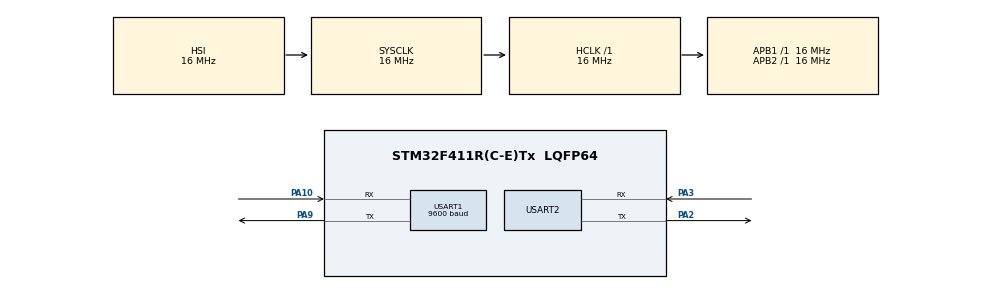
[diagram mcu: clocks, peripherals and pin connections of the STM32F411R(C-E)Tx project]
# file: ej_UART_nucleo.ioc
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Mcu.Family=STM32F4
Mcu.Name=STM32F411R(C-E)Tx
Mcu.Package=LQFP64
NVIC.PriorityGroup=NVIC_PRIORITYGROUP_4
NVIC.USART2_IRQn=true\:0\:0\:false\:false\:true\:true\:true
PA10.Mode=Asynchronous
PA10.Signal=USART1_RX
PA2.GPIO_PuPd=GPIO_PULLUP
PA2.GPIO_Speed=GPIO_SPEED_FREQ_MEDIUM
PA2.Mode=Asynchronous
PA2.Signal=USART2_TX
PA3.Mode=Asynchronous
PA3.Signal=USART2_RX
PA9.Mode=Asynchronous
PA9.Signal=USART1_TX
PH0\ -\ OSC_IN.Mode=HSE-External-Oscillator
PH0\ -\ OSC_IN.Signal=RCC_OSC_IN
PH1\ -\ OSC_OUT.Mode=HSE-External-Oscillator
PH1\ -\ OSC_OUT.Signal=RCC_OSC_OUT
ProjectManager.HeapSize=0x200
ProjectManager.StackSize=0x400
ProjectManager.TargetToolchain=SW4STM32
RCC.48MHZClocksFreq_Value=48000000
RCC.AHBFreq_Value=16000000
RCC.APB1Freq_Value=16000000
RCC.APB1TimFreq_Value=16000000
RCC.APB2Freq_Value=16000000
RCC.APB2TimFreq_Value=16000000
RCC.CortexFreq_Value=16000000
RCC.HCLKFreq_Value=16000000
RCC.HSE_VALUE=25000000
RCC.HSI_VALUE=16000000
RCC.LSE_VALUE=32768
RCC.SYSCLKFreq_VALUE=16000000
RCC.VCOOutputFreq_Value=192000000
RTC.Date=10
RTC.Hours=0
RTC.Minutes=0
RTC.Month=RTC_MONTH_AUGUST
RTC.WeekDay=RTC_WEEKDAY_WEDNESDAY
RTC.Year=22
USART1.BaudRate=9600
USART1.VirtualMode=VM_ASYNC
USART2.VirtualMode=VM_ASYNC
VP_RTC_VS_RTC_Activate.Mode=RTC_Enabled
VP_RTC_VS_RTC_Calendar.Mode=RTC_Calendar
board=custom

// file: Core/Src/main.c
/* USER CODE BEGIN Header */
/**
  ******************************************************************************
  * @file           : main.c
  * @brief          : Main program body
  ******************************************************************************
  * @attention
  *
  * <h2><center>&copy; Copyright (c) 2022 STMicroelectronics.
  * All rights reserved.</center></h2>
  *
  * This software component is licensed by ST under BSD 3-Clause license,
  * the "License"; You may not use this file except in compliance with the
  * License. You may obtain a copy of the License at:
  *                        opensource.org/licenses/BSD-3-Clause
  *
  ******************************************************************************
  */
/* USER CODE END Header */
#include "main.h"
#include "frame_decoder.h"
#include "frame_parser.h"
#include "engine.h"
#define frame_bufer 14

UART_HandleTypeDef huart1;
UART_HandleTypeDef huart2;
//uint8_t c;
/* USER CODE BEGIN PV */
uint8_t buffer_uart[14];  //  creating a buffer of 10 bytes
uint8_t frame_rx_completed_flag=0;
/*
typedef struct temporizacion{
	uint8_t hora;
	uint8_t minuto;
	uint8_t segundo;
	uint8_t pista;
}temporizacion;
*/
/* USER CODE END PV */

void SystemClock_Config(void);
static void MX_GPIO_Init(void);
static void MX_USART2_UART_Init(void);
static void MX_USART1_UART_Init(void);
static void MX_RTC_Init(void);
void HAL_UART_RxCpltCallback(UART_HandleTypeDef *huart);
void USART2_IRQHandler(void);
void SysTick_Handler(void);

temporizacion time_prog[5];
int main(void)
{

  /* MCU Configuration--------------------------------------------------------*/

  /* Reset of all peripherals, Initializes the Flash interface and the Systick. */
  HAL_Init();

  /* Configure the system clock */
  SystemClock_Config();

  /* Initialize all configured peripherals */
  MX_GPIO_Init();
  MX_USART2_UART_Init();
  MX_USART1_UART_Init();
  MX_RTC_Init();
  /* USER CODE BEGIN 2 */
  uint8_t hora;
	uint8_t minuto;
	uint8_t segundo;
	uint8_t track;
  //temporizacion time_prog[5]={{23,50,00,1},{23,52,00,1},{23,53,00,1},{23,54,00,1},{23,55,00,1}};
  /* USER CODE END 2 */
 // HAL_UART_Receive_IT(&huart2, &c, 1);
  /* Infinite loop */
  /* USER CODE BEGIN WHILE */
  uint8_t buffer[30];
 uint8_t buf;

 // HAL_UART_Transmit(&huart2, (uint8_t*)buffer, sizeof(buffer), HAL_MAX_DELAY);
// initialization(huart1);
  RTC_DateTypeDef GetData;  //Get date structure

     //Get time structure
  GetTime.Hours=21;
  GetTime.Minutes=50;
 //mp3_play_num(4);
 // mp3_play_physical_num(1);
  HAL_RTC_SetTime(&hrtc, &GetTime, RTC_FORMAT_BIN);
  HAL_UART_Receive_IT(&huart2, buffer_uart, frame_bufer);
 // init(huart2);
  while (1)
  {
	  HAL_RTC_GetTime(&hrtc, &GetTime, RTC_FORMAT_BIN);//Get time
	      /* Get the RTC current Date */
	      HAL_RTC_GetDate(&hrtc, &GetData, RTC_FORMAT_BIN);//get date
         /* for (int i=0;i<5;i++){
        	  if((time_prog[i].hora==GetTime.Hours) && (time_prog[i].minuto==GetTime.Minutes)&&(GetTime.Seconds==0)){
        		  mp3_play_physical_num(time_prog[i].pista);
        	  }
          }*/

          //send_frame_complete();
          if(frame_rx_completed_flag){
        	  uint8_t hora=horas();
        	           uint8_t minuto=minutos();
        	           uint8_t segundo=segundos();
        	           uint8_t track=tracks();
        	           uint8_t cmd=cmd_get();
        	 command(huart2, cmd, time_prog, hora, minuto, segundo, track);
        	 frame_rx_completed_flag=0;
          }
          /* Display date Format : yy/mm/dd */
	     //sprintf(buffer,"%02d/%02d/%02d\r\n",2000 + GetData.Year, GetData.Month, GetData.Date);
	      /* Display time Format : hh:mm:ss */
	     // HAL_UART_Transmit(&huart2, (uint8_t*)buffer, sizeof(buffer), HAL_MAX_DELAY);
	    //  sprintf(buffer,"%02d:%02d:%02d\r\n",GetTime.Hours, GetTime.Minutes, GetTime.Seconds);
	     // HAL_UART_Transmit(&huart2, (uint8_t*)buffer, sizeof(buffer), HAL_MAX_DELAY);
	      //printf("\r\n");

	     // HAL_Delay(1000);
    /* USER CODE END WHILE */

  }
}

void SysTick_Handler(void)
{
  /* USER CODE BEGIN SysTick_IRQn 0 */
   char buffer[20];
   static int ticks=0;
  RTC_TimeTypeDef GetTime;
  /* USER CODE END SysTick_IRQn 0 */
  HAL_IncTick();
  ticks++;
 if (ticks>=1000){
	 if(flag_scheduler){ //Flag para activar/desactivar temporizador
	  exec(time_prog,hrtc);
	 }
	  HAL_RTC_GetTime(&hrtc, &GetTime, RTC_FORMAT_BIN);
	   sprintf(buffer,"%02d:%02d:%02d\r\n",GetTime.Hours, GetTime.Minutes, GetTime.Seconds);
	 //  HAL_UART_Transmit(&huart2, (uint8_t*)buffer, sizeof(buffer), HAL_MAX_DELAY);

	  ticks=0;
  }
}
//
//}
void USART2_IRQHandler(void)
{
//	 HAL_UART_RxCpltCallback(&huart2);
  HAL_UART_IRQHandler(&huart2);
}

/* This callback is called by the HAL_UART_IRQHandler when the given number of bytes are received */
void HAL_UART_RxCpltCallback(UART_HandleTypeDef *huart)
{

	uint8_t error=0;
	uint8_t cmd_frame=0;

	if (huart->Instance == USART2)
  {
		 char buffer[14]={'H','E','L','L','O',0,0,0,0,0xFF,0,0,0xFF,0xEF};

    /* Transmit one byte with 100 ms timeout */
   decoder(buffer_uart);
   error=error_frame();
   if (!error){
    	frame_rx_completed_flag=1;
    }else{
    	frame_rx_completed_flag=0;
    	 HAL_UART_Transmit(&huart2, (uint8_t*)buffer, sizeof(buffer), 100);
    }
    cmd_frame=cmd_get();

	//sprintf(buffer,"Error: %i",(int)error);

    /* Receive one byte in interrupt mode */
		 HAL_UART_Receive_IT(&huart2, buffer_uart, frame_bufer);
  }

}
void SystemClock_Config(void)
{
  RCC_OscInitTypeDef RCC_OscInitStruct = {0};
  RCC_ClkInitTypeDef RCC_ClkInitStruct = {0};
  RCC_PeriphCLKInitTypeDef PeriphClkInitStruct = {0};

  /** Configure the main internal regulator output voltage
  */
  __HAL_RCC_PWR_CLK_ENABLE();
  __HAL_PWR_VOLTAGESCALING_CONFIG(PWR_REGULATOR_VOLTAGE_SCALE1);
  /** Initializes the RCC Oscillators according to the specified parameters
  * in the RCC_OscInitTypeDef structure.
  */
  RCC_OscInitStruct.OscillatorType = RCC_OSCILLATORTYPE_HSI|RCC_OSCILLATORTYPE_LSI;
  RCC_OscInitStruct.HSIState = RCC_HSI_ON;
  RCC_OscInitStruct.HSICalibrationValue = RCC_HSICALIBRATION_DEFAULT;
  RCC_OscInitStruct.LSIState = RCC_LSI_ON;
  RCC_OscInitStruct.PLL.PLLState = RCC_PLL_NONE;
  if (HAL_RCC_OscConfig(&RCC_OscInitStruct) != HAL_OK)
  {
    Error_Handler();
  }
  /** Initializes the CPU, AHB and APB buses clocks
  */
  RCC_ClkInitStruct.ClockType = RCC_CLOCKTYPE_HCLK|RCC_CLOCKTYPE_SYSCLK
                              |RCC_CLOCKTYPE_PCLK1|RCC_CLOCKTYPE_PCLK2;
  RCC_ClkInitStruct.SYSCLKSource = RCC_SYSCLKSOURCE_HSI;
  RCC_ClkInitStruct.AHBCLKDivider = RCC_SYSCLK_DIV1;
  RCC_ClkInitStruct.APB1CLKDivider = RCC_HCLK_DIV1;
  RCC_ClkInitStruct.APB2CLKDivider = RCC_HCLK_DIV1;

  if (HAL_RCC_ClockConfig(&RCC_ClkInitStruct, FLASH_LATENCY_0) != HAL_OK)
  {
    Error_Handler();
  }
  PeriphClkInitStruct.PeriphClockSelection = RCC_PERIPHCLK_RTC;
  PeriphClkInitStruct.RTCClockSelection = RCC_RTCCLKSOURCE_LSI;
  if (HAL_RCCEx_PeriphCLKConfig(&PeriphClkInitStruct) != HAL_OK)
  {
    Error_Handler();
  }
}

static void MX_RTC_Init(void)
{

  RTC_TimeTypeDef sTime = {0};
  RTC_DateTypeDef sDate = {0};

  /** Initialize RTC Only
  */
  hrtc.Instance = RTC;
  hrtc.Init.HourFormat = RTC_HOURFORMAT_24;
  hrtc.Init.AsynchPrediv = 127;
  hrtc.Init.SynchPrediv = 255;
  hrtc.Init.OutPut = RTC_OUTPUT_DISABLE;
  hrtc.Init.OutPutPolarity = RTC_OUTPUT_POLARITY_HIGH;
  hrtc.Init.OutPutType = RTC_OUTPUT_TYPE_OPENDRAIN;
  if (HAL_RTC_Init(&hrtc) != HAL_OK)
  {
    Error_Handler();
  }

  /** Initialize RTC and set the Time and Date
  */
  sTime.Hours = 0x0;
  sTime.Minutes = 0x0;
  sTime.Seconds = 0x0;
  sTime.DayLightSaving = RTC_DAYLIGHTSAVING_NONE;
  sTime.StoreOperation = RTC_STOREOPERATION_RESET;
  if (HAL_RTC_SetTime(&hrtc, &sTime, RTC_FORMAT_BCD) != HAL_OK)
  {
    Error_Handler();
  }
  sDate.WeekDay = RTC_WEEKDAY_WEDNESDAY;
  sDate.Month = RTC_MONTH_AUGUST;
  sDate.Date = 0x10;
  sDate.Year = 0x22;

  if (HAL_RTC_SetDate(&hrtc, &sDate, RTC_FORMAT_BCD) != HAL_OK)
  {
    Error_Handler();
  }

}

static void MX_USART1_UART_Init(void)
{

  huart1.Instance = USART1;
  huart1.Init.BaudRate = 9600;
  huart1.Init.WordLength = UART_WORDLENGTH_8B;
  huart1.Init.StopBits = UART_STOPBITS_1;
  huart1.Init.Parity = UART_PARITY_NONE;
  huart1.Init.Mode = UART_MODE_TX_RX;
  huart1.Init.HwFlowCtl = UART_HWCONTROL_NONE;
  huart1.Init.OverSampling = UART_OVERSAMPLING_16;
  if (HAL_UART_Init(&huart1) != HAL_OK)
  {
    Error_Handler();
  }

}

static void MX_USART2_UART_Init(void)
{

  huart2.Instance = USART2;
  huart2.Init.BaudRate = 115200;
  huart2.Init.WordLength = UART_WORDLENGTH_8B;
  huart2.Init.StopBits = UART_STOPBITS_1;
  huart2.Init.Parity = UART_PARITY_NONE;
  huart2.Init.Mode = UART_MODE_TX_RX;
  huart2.Init.HwFlowCtl = UART_HWCONTROL_NONE;
  //huart2.Init.OverSampling = UART_OVERSAMPLING_16;
  if (HAL_UART_Init(&huart2) != HAL_OK)
  {
    Error_Handler();
  }

}

static void MX_GPIO_Init(void)
{

  /* GPIO Ports Clock Enable */
  __HAL_RCC_GPIOH_CLK_ENABLE();
  __HAL_RCC_GPIOA_CLK_ENABLE();

}

void Error_Handler(void)
{
  __disable_irq();
  while (1)
  {
  }
}

/************************ (C) COPYRIGHT STMicroelectronics *****END OF FILE****/
